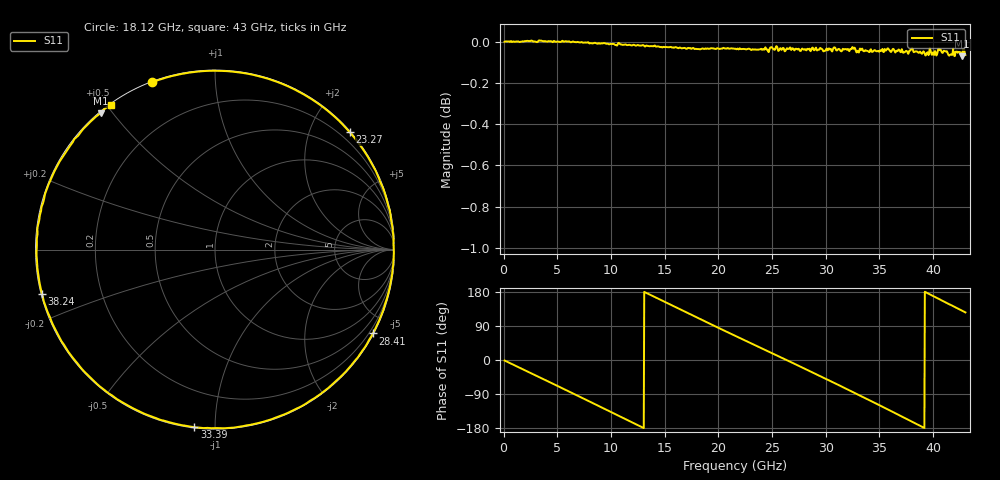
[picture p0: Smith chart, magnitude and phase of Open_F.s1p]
# Hz S RI R 50.000000
! Metas.Vna.Tools, 2.9.9438.25149
! Metas.Vna.Data, 2.9.9438.25100
! Created: UTC 2026.07.08 13:01:25
! FREQ  re:S1,1  im:S1,1
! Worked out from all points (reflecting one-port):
!   1001 points, 100 MHz to 43 GHz, reference 50 ohm
!   lowest |S11| = -0.1 dB at 42.7 GHz (marker M1), VSWR 246.53, Z = 0.247 + j23.3 ohm
!   phase of S11 starts at -1 deg and turns -593 deg over the sweep
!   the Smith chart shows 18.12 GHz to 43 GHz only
!   S11 on the Smith chart (normalised r, x): 18.12 GHz: 0.00, +0.69; 23.27 GHz: 0.02, +2.67; 28.41 GHz: 0.03, -4.01; 33.39 GHz: 0.00, -0.89; 38.24 GHz: 0.00, -0.13; 43 GHz: 0.00, +0.51
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1e8  0.9998 -0.0244
2.5453e9  0.823 -0.5693
4.0897e9  0.5632 -0.8266
5.4625e9  0.2673 -0.9642
6.7495e9  -0.0383 -0.9991
8.0365e9  -0.3409 -0.9393
9.3664e9  -0.6208 -0.7832
1.0825e10  -0.8534 -0.5193
1.21978e10  -0.9755 -0.2118
1.34848e10  -0.9929 0.098
1.48147e10  -0.9101 0.4071
1.61875e10  -0.7284 0.6803
1.8118e10  -0.3497 0.9327
1.9834e10  0.0478 0.9952
2.155e10  0.4356 0.896
2.3266e10  0.7507 0.6541
2.51107e10  0.9555 0.2811
2.69125e10  0.9876 -0.1327
2.8414e10  0.8796 -0.4673
3.04732e10  0.5552 -0.827
3.2275e10  0.1553 -0.9838
3.33904e10  -0.1149 -0.9896
3.54496e10  -0.5828 -0.807
3.76375e10  -0.9155 -0.3864
3.82381e10  -0.9637 -0.2451
4.0426e10  -0.9491 0.2983
4.26997e10  -0.6375 0.7599
4.3e10  -0.5782 0.807
